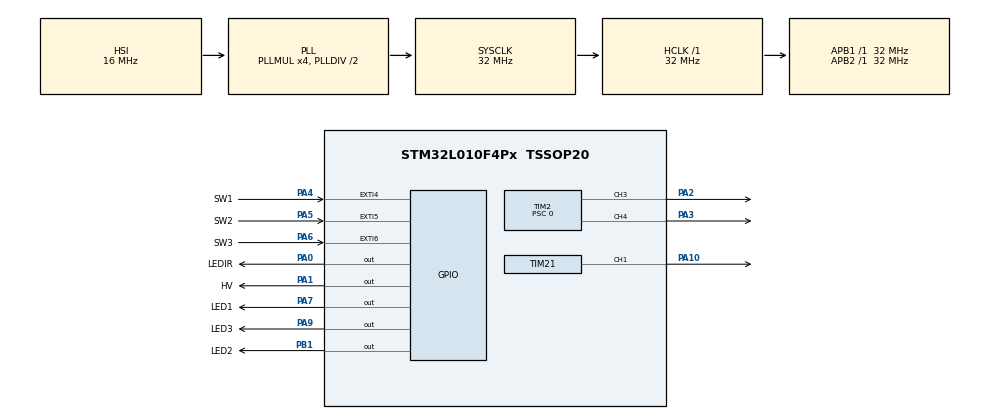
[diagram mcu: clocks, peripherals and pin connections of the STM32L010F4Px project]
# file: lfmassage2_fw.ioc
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Dma.Request0=TIM2_CH3
Dma.Request1=TIM2_CH4
Dma.TIM2_CH3.0.Direction=DMA_MEMORY_TO_PERIPH
Dma.TIM2_CH3.0.Instance=DMA1_Channel1
Dma.TIM2_CH3.0.MemDataAlignment=DMA_MDATAALIGN_HALFWORD
Dma.TIM2_CH3.0.MemInc=DMA_MINC_ENABLE
Dma.TIM2_CH3.0.Mode=DMA_NORMAL
Dma.TIM2_CH3.0.PeriphDataAlignment=DMA_PDATAALIGN_HALFWORD
Dma.TIM2_CH3.0.PeriphInc=DMA_PINC_DISABLE
Dma.TIM2_CH3.0.Priority=DMA_PRIORITY_HIGH
Dma.TIM2_CH4.1.Direction=DMA_MEMORY_TO_PERIPH
Dma.TIM2_CH4.1.Instance=DMA1_Channel4
Dma.TIM2_CH4.1.MemDataAlignment=DMA_MDATAALIGN_HALFWORD
Dma.TIM2_CH4.1.MemInc=DMA_MINC_ENABLE
Dma.TIM2_CH4.1.Mode=DMA_NORMAL
Dma.TIM2_CH4.1.PeriphDataAlignment=DMA_PDATAALIGN_HALFWORD
Dma.TIM2_CH4.1.PeriphInc=DMA_PINC_DISABLE
Dma.TIM2_CH4.1.Priority=DMA_PRIORITY_HIGH
Mcu.Family=STM32L0
Mcu.Name=STM32L010F4Px
Mcu.Package=TSSOP20
NVIC.DMA1_Channel1_IRQn=true\:0\:0\:false\:false\:true\:false\:true\:true
NVIC.DMA1_Channel4_5_IRQn=true\:0\:0\:false\:false\:true\:false\:true\:true
NVIC.EXTI4_15_IRQn=true\:0\:0\:false\:false\:true\:true\:true\:true
NVIC.TIM21_IRQn=true\:0\:0\:false\:false\:true\:true\:true\:true
NVIC.TIM2_IRQn=true\:0\:0\:false\:false\:true\:true\:true\:true
PA0-CK_IN.GPIO_Label=LEDIR
PA0-CK_IN.Signal=GPIO_Output
PA1.GPIO_Label=HV
PA1.Signal=GPIO_Output
PA10.Signal=S_TIM21_CH1
PA13.Mode=Serial_Wire
PA13.Signal=SYS_SWDIO
PA14.Mode=Serial_Wire
PA14.Signal=SYS_SWCLK
PA2.Signal=S_TIM2_CH3
PA3.Signal=S_TIM2_CH4
PA4.GPIO_Label=SW1
PA4.GPIO_PuPd=GPIO_PULLDOWN
PA4.Signal=GPXTI4
PA5.GPIO_Label=SW2
PA5.GPIO_PuPd=GPIO_PULLDOWN
PA5.Signal=GPXTI5
PA6.GPIO_Label=SW3
PA6.GPIO_PuPd=GPIO_PULLDOWN
PA6.Signal=GPXTI6
PA7.GPIO_Label=LED1
PA7.Signal=GPIO_Output
PA9.GPIO_Label=LED3
PA9.Signal=GPIO_Output
PB1.GPIO_Label=LED2
PB1.Signal=GPIO_Output
ProjectManager.HeapSize=0x200
ProjectManager.StackSize=0x400
ProjectManager.TargetToolchain=STM32CubeIDE
RCC.AHBFreq_Value=32000000
RCC.APB1Freq_Value=32000000
RCC.APB1TimFreq_Value=32000000
RCC.APB2Freq_Value=32000000
RCC.APB2TimFreq_Value=32000000
RCC.HCLKFreq_Value=32000000
RCC.HSE_VALUE=8000000
RCC.HSI16_VALUE=16000000
RCC.HSI_VALUE=16000000
RCC.LSE_VALUE=32768
RCC.MSI_VALUE=2097000
RCC.PLLMUL=RCC_PLLMUL_4
RCC.SYSCLKFreq_VALUE=32000000
RCC.SYSCLKSource=RCC_SYSCLKSOURCE_PLLCLK
RCC.VCOOutputFreq_Value=64000000
SH.S_TIM21_CH1.0=TIM21_CH1,PWM Generation1 CH1
SH.S_TIM2_CH3.0=TIM2_CH3,PWM Generation3 CH3
SH.S_TIM2_CH4.0=TIM2_CH4,PWM Generation4 CH4
TIM2.Channel-PWM\ Generation3\ CH3=TIM_CHANNEL_3
TIM2.Channel-PWM\ Generation4\ CH4=TIM_CHANNEL_4
TIM2.Period=1000-1
TIM2.Prescaler=0
TIM21.Channel-PWM\ Generation1\ CH1=TIM_CHANNEL_1
TIM21.Period=1000-1
TIM21.Prescaler=8-1
TIM21.Pulse-PWM\ Generation1\ CH1=500
VP_RTC_VS_RTC_Activate.Mode=RTC_Enabled
VP_TIM21_VS_ClockSourceINT.Mode=Internal
VP_TIM2_VS_ClockSourceINT.Mode=Internal
board=custom

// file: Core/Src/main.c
/* USER CODE BEGIN Header */
/**
  ******************************************************************************
  * @file           : main.c
  * @brief          : Main program body
  ******************************************************************************
  * @attention
  *
  * Copyright (c) 2022 STMicroelectronics.
  * All rights reserved.
  *
  * This software is licensed under terms that can be found in the LICENSE file
  * in the root directory of this software component.
  * If no LICENSE file comes with this software, it is provided AS-IS.
  *
  ******************************************************************************
  */
/* USER CODE END Header */
#include "main.h"
#include "dma.h"
#include "rtc.h"
#include "tim.h"
#include "gpio.h"

/* USER CODE BEGIN Includes */
#include <math.h>

/* USER CODE END Includes */

/* USER CODE BEGIN PTD */
typedef enum {
  MODE_PWR_OFF,
  MODE_PWR_ON,
  MODE_1,
  MODE_2,
  MODE_3,
} mode_t;

typedef enum {
	INTENSITY_0,
	INTENSITY_1,
	INTENSITY_2,
	INTENSITY_3,
	INTENSITY_4,
	INTENSITY_5,
} intensity_t;

/* USER CODE END PTD */

/* USER CODE BEGIN PM */
#define ledir_on() HAL_GPIO_WritePin(LEDIR_GPIO_Port, LEDIR_Pin, GPIO_PIN_SET)
#define ledir_off() HAL_GPIO_WritePin(LEDIR_GPIO_Port, LEDIR_Pin, GPIO_PIN_RESET)
#define led1_on() HAL_GPIO_WritePin(LED1_GPIO_Port, LED1_Pin, GPIO_PIN_SET)
#define led1_off() HAL_GPIO_WritePin(LED1_GPIO_Port, LED1_Pin, GPIO_PIN_RESET)
#define led2_on() HAL_GPIO_WritePin(LED2_GPIO_Port, LED2_Pin, GPIO_PIN_SET)
#define led2_off() HAL_GPIO_WritePin(LED2_GPIO_Port, LED2_Pin, GPIO_PIN_RESET)
#define led3_on() HAL_GPIO_WritePin(LED3_GPIO_Port, LED3_Pin, GPIO_PIN_SET)
#define led3_off() HAL_GPIO_WritePin(LED3_GPIO_Port, LED3_Pin, GPIO_PIN_RESET)
#define is_sw1_pushed() (HAL_GPIO_ReadPin(SW1_GPIO_Port, SW1_Pin) == GPIO_PIN_SET)
#define is_sw2_pushed() (HAL_GPIO_ReadPin(SW2_GPIO_Port, SW2_Pin) == GPIO_PIN_SET)
#define is_sw3_pushed() (HAL_GPIO_ReadPin(SW3_GPIO_Port, SW3_Pin) == GPIO_PIN_SET)

/* USER CODE END PM */

/* USER CODE BEGIN PV */
mode_t mode = MODE_PWR_OFF;
intensity_t intensity = INTENSITY_0;
bool main_pwr = False;

int cnt_pwm_buzzer;

bool flag_dma_finished;

/* USER CODE END PV */

void SystemClock_Config(void);

/* USER CODE BEGIN 0 */
void beep(void)
{
	cnt_pwm_buzzer = 0;
	HAL_TIM_PWM_Start_IT(&htim21, TIM_CHANNEL_1);
}

void led_all_off(void)
{
	ledir_off();
	led1_off();
	led2_off();
	led3_off();
}

void power_on(void)
{
	RTC_TimeTypeDef sTime;

	main_pwr = True;
	HAL_GPIO_WritePin(HV_GPIO_Port, HV_Pin, GPIO_PIN_SET);

	sTime.Seconds = 0;
	HAL_RTC_SetTime(&hrtc, &sTime, RTC_FORMAT_BCD);

//	led1_on();
//	led2_on();
//	led3_on();
//	HAL_Delay(100);
//	led_all_off();
//	HAL_Delay(100);
//	led1_on();
//	led2_on();
//	led3_on();
//	HAL_Delay(100);
//	led_all_off();
//	HAL_Delay(500);
}

void power_off(void)
{
	main_pwr = False;
	HAL_GPIO_WritePin(HV_GPIO_Port, HV_Pin, GPIO_PIN_RESET);

	HAL_Delay(100);
	led_all_off();
	HAL_SuspendTick();
	__HAL_RCC_PWR_CLK_ENABLE();
	//HAL_PWR_EnableSleepOnExit();
	HAL_PWR_EnterSTOPMode(PWR_LOWPOWERREGULATOR_ON, PWR_SLEEPENTRY_WFI);

	HAL_ResumeTick();
	SystemClock_Config();
	NVIC_SystemReset();
}

void mode1_work(void)
{
//	flag_dma_finished = False;
//	HAL_TIM_PWM_Start_DMA(&htim2, TIM_CHANNEL_3, (uint32_t*)sine_dat, SINE_CNT);
//	while (!flag_dma_finished) {};
//	HAL_TIM_PWM_Stop_DMA(&htim2, TIM_CHANNEL_3);
//	__HAL_TIM_SET_COMPARE(&htim2, TIM_CHANNEL_3, 0);
//
//	flag_dma_finished = False;
//	HAL_TIM_PWM_Start_DMA(&htim2, TIM_CHANNEL_4, (uint32_t*)sine_dat, SINE_CNT);
//	while (!flag_dma_finished) {};
//	HAL_TIM_PWM_Stop_DMA(&htim2, TIM_CHANNEL_4);
//	__HAL_TIM_SET_COMPARE(&htim2, TIM_CHANNEL_4, 0);
	RTC_TimeTypeDef sTime;
	HAL_RTC_GetTime(&hrtc, &sTime, RTC_FORMAT_BCD);
	if (sTime.Minutes == 1) mode = MODE_PWR_OFF;
}

void mode2_work(void)
{/*
	int i = 0;
	uint16_t pulse_dat[64];

	for (; i < 32; i++) {
		pulse_dat[i] = 999;
	}
	for (; i < 64; i++) {
		pulse_dat[i] = 0;
	}
	flag_dma_finished = False;
	HAL_TIM_PWM_Start_DMA(&htim2, TIM_CHANNEL_3, (uint32_t*)pulse_dat, 64);
	while (!flag_dma_finished) {};
	HAL_TIM_PWM_Stop_DMA(&htim2, TIM_CHANNEL_3);
	__HAL_TIM_SET_COMPARE(&htim2, TIM_CHANNEL_3, 0);*/
}

void mode3_work(void)
{

}

/* USER CODE END 0 */

int main(void)
{

  /* MCU Configuration--------------------------------------------------------*/

  /* Reset of all peripherals, Initializes the Flash interface and the Systick. */
  HAL_Init();

  /* Configure the system clock */
  SystemClock_Config();

  /* Initialize all configured peripherals */
  MX_GPIO_Init();
  MX_DMA_Init();
  MX_TIM2_Init();
  MX_TIM21_Init();
  MX_RTC_Init();
  /* USER CODE BEGIN 2 */
	if (is_sw2_pushed()) {
		mode = MODE_PWR_ON;
	} else {
		mode = MODE_PWR_OFF;
	}

  /* USER CODE END 2 */

  /* Infinite loop */
  while (1)
  {

    /* USER CODE BEGIN 3 */
	  switch(mode) {
		  case MODE_PWR_OFF:
			  power_off();
			  break;
		  case MODE_PWR_ON:
			  beep();
			  power_on();

			  led1_on();
			  mode = MODE_1;
			  break;
		  case MODE_1:
			  mode1_work();
			  break;
		  case MODE_2:
			  mode2_work();
			  break;
		  case MODE_3:
			  mode3_work();
			  break;
	  }
  }
  /* USER CODE END 3 */
}

void SystemClock_Config(void)
{
  RCC_OscInitTypeDef RCC_OscInitStruct = {0};
  RCC_ClkInitTypeDef RCC_ClkInitStruct = {0};
  RCC_PeriphCLKInitTypeDef PeriphClkInit = {0};

  /** Configure the main internal regulator output voltage
  */
  __HAL_PWR_VOLTAGESCALING_CONFIG(PWR_REGULATOR_VOLTAGE_SCALE1);

  /** Initializes the RCC Oscillators according to the specified parameters
  * in the RCC_OscInitTypeDef structure.
  */
  RCC_OscInitStruct.OscillatorType = RCC_OSCILLATORTYPE_HSI|RCC_OSCILLATORTYPE_LSI;
  RCC_OscInitStruct.HSIState = RCC_HSI_ON;
  RCC_OscInitStruct.HSICalibrationValue = RCC_HSICALIBRATION_DEFAULT;
  RCC_OscInitStruct.LSIState = RCC_LSI_ON;
  RCC_OscInitStruct.PLL.PLLState = RCC_PLL_ON;
  RCC_OscInitStruct.PLL.PLLSource = RCC_PLLSOURCE_HSI;
  RCC_OscInitStruct.PLL.PLLMUL = RCC_PLLMUL_4;
  RCC_OscInitStruct.PLL.PLLDIV = RCC_PLLDIV_2;
  if (HAL_RCC_OscConfig(&RCC_OscInitStruct) != HAL_OK)
  {
    Error_Handler();
  }

  /** Initializes the CPU, AHB and APB buses clocks
  */
  RCC_ClkInitStruct.ClockType = RCC_CLOCKTYPE_HCLK|RCC_CLOCKTYPE_SYSCLK
                              |RCC_CLOCKTYPE_PCLK1|RCC_CLOCKTYPE_PCLK2;
  RCC_ClkInitStruct.SYSCLKSource = RCC_SYSCLKSOURCE_PLLCLK;
  RCC_ClkInitStruct.AHBCLKDivider = RCC_SYSCLK_DIV1;
  RCC_ClkInitStruct.APB1CLKDivider = RCC_HCLK_DIV1;
  RCC_ClkInitStruct.APB2CLKDivider = RCC_HCLK_DIV1;

  if (HAL_RCC_ClockConfig(&RCC_ClkInitStruct, FLASH_LATENCY_1) != HAL_OK)
  {
    Error_Handler();
  }
  PeriphClkInit.PeriphClockSelection = RCC_PERIPHCLK_RTC;
  PeriphClkInit.RTCClockSelection = RCC_RTCCLKSOURCE_LSI;
  if (HAL_RCCEx_PeriphCLKConfig(&PeriphClkInit) != HAL_OK)
  {
    Error_Handler();
  }
}

/* USER CODE BEGIN 4 */
void HAL_GPIO_EXTI_Callback(uint16_t GPIO_Pin)
{
	switch (GPIO_Pin) {
		case SW2_Pin:
			if (mode == MODE_1) {
				led1_off();
				beep();
				led2_on();
				mode = MODE_2;
			} else if (mode == MODE_2) {
				led2_off();
				beep();
				led3_on();
				mode = MODE_3;
			} else if (mode == MODE_3) {
				led3_off();
				beep();
				mode = MODE_PWR_OFF;
			}
			break;
		case SW1_Pin:
			if (main_pwr) {
				if (intensity != INTENSITY_0) {
					beep();
					intensity--;
				}
			}
			break;
		case SW3_Pin:
			if (main_pwr) {
				if (intensity != INTENSITY_5) {
					beep();
					intensity++;
				}
			}
			break;
	}
}

void HAL_TIM_PWM_PulseFinishedCallback(TIM_HandleTypeDef *htim)
{
	if (htim->Instance == TIM2) {
		flag_dma_finished = True;
	} else if (htim->Instance == TIM21) {
		if (++cnt_pwm_buzzer >= 400) {
			HAL_TIM_PWM_Stop_IT(&htim21, TIM_CHANNEL_1);
		}
	}
}

void HAL_RTC_AlarmAEventCallback(RTC_HandleTypeDef *hrtc)
{
	mode = MODE_PWR_OFF;
}

/* USER CODE END 4 */

void Error_Handler(void)
{
  __disable_irq();
  while (1)
  {
  }
}
